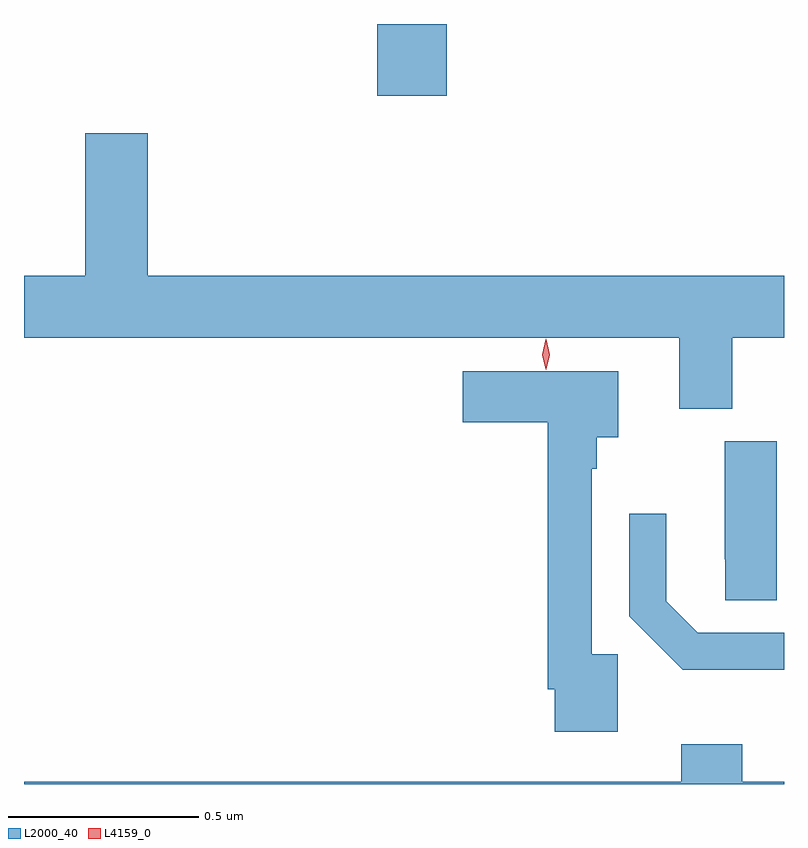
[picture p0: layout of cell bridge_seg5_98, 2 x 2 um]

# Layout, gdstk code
import gdstk
lib = gdstk.Library(unit=1e-6, precision=1e-09)
def R(c, l, rs):  # rectangles x0, y0, x1, y1
    for r in rs: c.add(gdstk.rectangle(r[:2], r[2:], *l))
def P(c, l, *ps):  # polygons
    for p in ps: c.add(gdstk.Polygon(p, *l))
L2000_40 = (2000, 40)
L4159_0 = (4159, 0)

bridge_seg5_98 = lib.new_cell('bridge_seg5_98')
R(bridge_seg5_98, L2000_40, [(549.392,866.721,549.575,866.91)])
P(bridge_seg5_98, L2000_40, [(550.327,866.084),(550.463,866.084),(550.463,866.248),(548.788,866.248),(548.788,866.623),(548.624,866.623),(548.624,866.248),(548.463,866.248),(548.463,866.084),(550.187,866.084),(550.187,865.897),(550.327,865.897)],
  [(550.026,865.251),(549.957,865.251),(549.957,865.739),(549.97,865.739),(549.97,865.823),(550.027,865.823),(550.027,865.996),(549.618,865.996),(549.618,865.862),(549.841,865.862),(549.841,865.159),(549.86,865.159),(549.86,865.047),(550.026,865.047)],
  [(550.444,865.812),(550.307,865.812),(550.307,865.501),(550.308,865.501),(550.308,865.393),(550.444,865.393)],
  [(550.463,865.308),(550.236,865.308),(550.153,865.391),(550.153,865.621),(550.056,865.621),(550.056,865.352),(550.197,865.211),(550.463,865.211)],
  [(550.463,864.916),(550.353,864.916),(550.353,865.015),(550.193,865.015),(550.193,864.916),(548.463,864.916),(548.463,864.91),(550.463,864.91)])
P(bridge_seg5_98, L4159_0, [(549.837,866),(549.836,866.001),(549.827,866.04),(549.836,866.08),(549.837,866.08),(549.837,866.08),(549.847,866.04),(549.837,866.001)])

lib.write_gds('bridge_seg5_98.gds')
